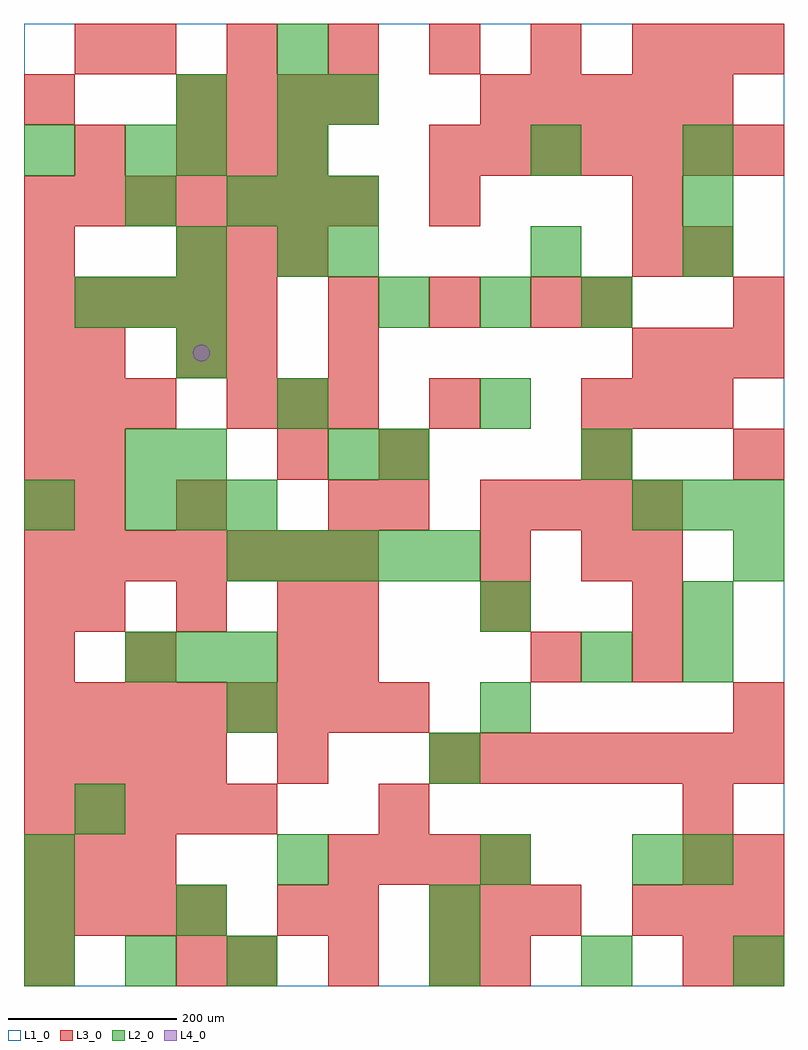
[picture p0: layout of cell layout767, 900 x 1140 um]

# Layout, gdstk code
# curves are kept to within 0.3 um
import gdstk
lib = gdstk.Library(unit=1e-6, precision=1e-09)
def R(c, l, rs):  # rectangles x0, y0, x1, y1
    for r in rs: c.add(gdstk.rectangle(r[:2], r[2:], *l))
def A(c, l, x, y, w, h, nx, ny, dx, dy):  # array of equal rectangles
    R(c, l, [(x+i*dx, y+j*dy, x+i*dx+w, y+j*dy+h) for i in range(nx) for j in range(ny)])
def P(c, l, *ps):  # polygons
    for p in ps: c.add(gdstk.Polygon(p, *l))
L1_0 = (1, 0)
L2_0 = (2, 0)
L3_0 = (3, 0)
L4_0 = (4, 0)

layout767 = lib.new_cell('layout767')
R(layout767, L1_0, [(0,0,900,1140)])
A(layout767, L2_0, 0, 0, 60, 60, 3, 1, 120, 0)
A(layout767, L2_0, 480, 0, 60, 60, 3, 1, 180, 0)
A(layout767, L2_0, 0, 120, 60, 60, 1, 3, 0, 420)
A(layout767, L2_0, 120, 360, 60, 60, 3, 2, 60, 180)
A(layout767, L2_0, 240, 480, 60, 60, 5, 1, 60, 0)
A(layout767, L2_0, 720, 540, 60, 60, 3, 1, 60, 0)
A(layout767, L2_0, 180, 600, 60, 60, 1, 4, 0, 120)
A(layout767, L2_0, 60, 780, 60, 60, 3, 1, 60, 0)
A(layout767, L2_0, 420, 780, 60, 60, 3, 1, 120, 0)
A(layout767, L2_0, 780, 840, 60, 60, 1, 3, 0, 60)
A(layout767, L2_0, 240, 900, 60, 60, 3, 1, 60, 0)
A(layout767, L2_0, 300, 960, 60, 60, 1, 3, 0, 60)
R(layout767, L2_0, [(0,60,60,120), (180,60,240,120), (480,60,540,120), (300,120,360,180), (540,120,600,180), (720,120,780,180), (780,120,840,180), (60,180,120,240), (480,240,540,300), (240,300,300,360), (540,300,600,360), (660,360,720,420), (780,360,840,420), (540,420,600,480), (780,420,840,480), (840,480,900,540), (120,600,180,660), (360,600,420,660), (420,600,480,660), (660,600,720,660), (300,660,360,720), (540,660,600,720), (300,840,360,900), (360,840,420,900), (600,840,660,900), (120,900,180,960), (120,960,180,1020), (600,960,660,1020), (180,1020,240,1080), (360,1020,420,1080)])
A(layout767, L3_0, 240, 0, 60, 60, 3, 1, 120, 0)
A(layout767, L3_0, 0, 60, 60, 60, 4, 2, 60, 180)
A(layout767, L3_0, 480, 60, 60, 60, 3, 1, 60, 0)
A(layout767, L3_0, 720, 60, 60, 60, 3, 2, 60, 660)
A(layout767, L3_0, 0, 120, 60, 60, 3, 2, 60, 540)
A(layout767, L3_0, 360, 120, 60, 60, 4, 1, 60, 0)
A(layout767, L3_0, 0, 180, 60, 60, 5, 2, 60, 600)
A(layout767, L3_0, 480, 240, 60, 60, 7, 2, 60, 720)
A(layout767, L3_0, 0, 300, 60, 60, 8, 1, 60, 0)
A(layout767, L3_0, 360, 360, 60, 60, 1, 3, 0, 180)
A(layout767, L3_0, 60, 420, 60, 60, 3, 1, 120, 0)
A(layout767, L3_0, 360, 420, 60, 60, 3, 1, 180, 0)
A(layout767, L3_0, 0, 480, 60, 60, 7, 2, 60, 420)
A(layout767, L3_0, 540, 540, 60, 60, 4, 1, 60, 0)
A(layout767, L3_0, 0, 600, 60, 60, 1, 3, 0, 120)
A(layout767, L3_0, 240, 660, 60, 60, 3, 1, 60, 0)
A(layout767, L3_0, 660, 660, 60, 60, 3, 1, 60, 0)
A(layout767, L3_0, 360, 780, 60, 60, 3, 1, 120, 0)
A(layout767, L3_0, 180, 840, 60, 60, 3, 2, 60, 120)
A(layout767, L3_0, 180, 1020, 60, 60, 4, 1, 60, 0)
A(layout767, L3_0, 540, 1020, 60, 60, 5, 1, 60, 0)
A(layout767, L3_0, 120, 1080, 60, 60, 6, 1, 120, 0)
R(layout767, L3_0, [(0,0,60,60), (180,0,240,60), (540,0,600,60), (780,0,840,60), (840,0,900,60), (300,60,360,120), (360,60,420,120), (780,120,840,180), (840,120,900,180), (420,180,480,240), (780,180,840,240), (300,240,360,300), (840,300,900,360), (0,360,60,420), (120,360,180,420), (300,360,360,420), (600,360,660,420), (720,360,780,420), (0,420,60,480), (540,480,600,540), (660,480,720,540), (720,480,780,540), (0,540,60,600), (60,540,120,600), (180,540,240,600), (420,540,480,600), (60,600,120,660), (300,600,360,660), (420,600,480,660), (660,600,720,660), (840,600,900,660), (480,660,540,720), (60,720,120,780), (180,720,240,780), (240,720,300,780), (660,780,720,840), (840,780,900,840), (720,840,780,900), (780,840,840,900), (480,900,540,960), (720,900,780,960), (60,960,120,1020), (0,1020,60,1080), (60,1080,120,1140), (780,1080,840,1140), (840,1080,900,1140)])
P(layout767, L4_0, [(220,750),(219.239,753.827),(217.071,757.071),(213.827,759.239),(210,760),(206.173,759.239),(202.929,757.071),(200.761,753.827),(200,750),(200.761,746.173),(202.929,742.929),(206.173,740.761),(210,740),(213.827,740.761),(217.071,742.929),(219.239,746.173)])

lib.write_gds('layout767.gds')
